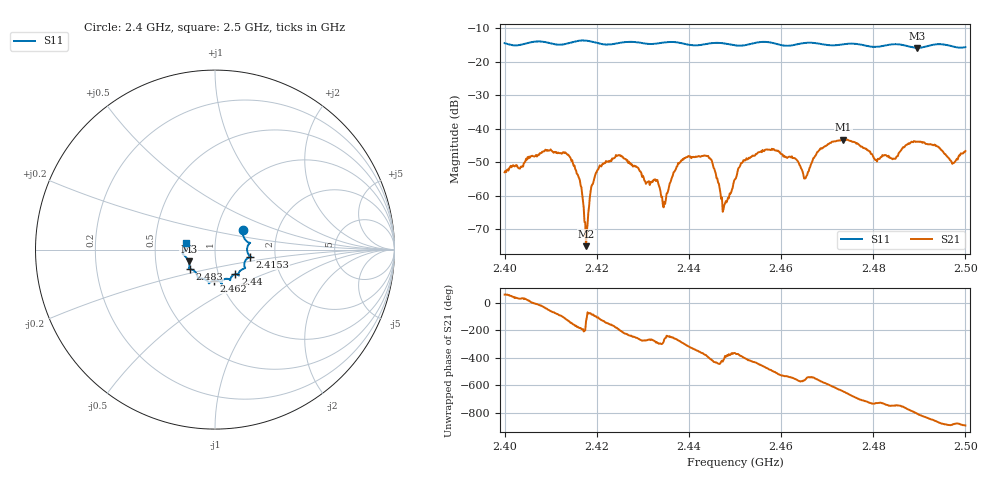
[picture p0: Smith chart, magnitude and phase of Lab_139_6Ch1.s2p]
# Hz S RI R 50
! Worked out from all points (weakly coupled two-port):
!   601 points, 2.4 GHz to 2.5 GHz, reference 50 ohm
!   highest |S21| = -43.24 dB at 2.4735 GHz (marker M1); lowest = -75.0 dB at 2.4177 GHz (marker M2)
!   lowest |S11| = -15.9 dB at 2.4895 GHz (marker M3), VSWR 1.38, Z = 37 - j5 ohm
!   |S11| at or under -10 dB: start of sweep to end of sweep
!   S12 and S22 are empty: the file has one direction only
!   S11 on the Smith chart (normalised r, x): 2.4 GHz: 1.33, +0.29; 2.4153 GHz: 1.48, -0.12; 2.44 GHz: 1.20, -0.34; 2.462 GHz: 0.93, -0.33; 2.483 GHz: 0.74, -0.17; 2.5 GHz: 0.72, +0.06
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2.4e9  0.1553 0.1066  0.00116 0.00191  0 0  0 0
2.4095e9  0.1885 0.0305  0.00288 -0.00372  0 0  0 0
2.415333e9  0.1963 -0.0385  -0.00243 -0.000497  0 0  0 0
2.416667e9  0.2019 -0.0425  -0.00131 0.000276  0 0  0 0
2.417667e9  0.2007 -0.0423  -0.000128 -0.000123  0 0  0 0
2.420167e9  0.1832 -0.0468  -0.000753 -0.00232  0 0  0 0
2.424333e9  0.1633 -0.0901  -0.00393 0.000146  0 0  0 0
2.433333e9  0.1312 -0.1335  0.000619 0.0014  0 0  0 0
2.434833e9  0.1307 -0.1427  -0.000163 0.000737  0 0  0 0
2.44e9  0.114 -0.1369  0.00294 0.00257  0 0  0 0
2.4445e9  0.0849 -0.1662  0.00262 -0.00253  0 0  0 0
2.447667e9  0.0823 -0.1673  0.000497 -0.000527  0 0  0 0
2.45e9  0.0645 -0.1625  0.00175 -0.000164  0 0  0 0
2.4555e9  0.0372 -0.1919  -4.49e-06 -0.00453  0 0  0 0
2.462e9  -0.00528 -0.1731  -0.00382 -1.43e-05  0 0  0 0
2.465167e9  -0.0323 -0.1867  -0.00168 0.000664  0 0  0 0
2.466667e9  -0.0342 -0.1877  -0.00312 -2.12e-05  0 0  0 0
2.4735e9  -0.084 -0.1604  0.00177 0.00666  0 0  0 0
2.483e9  -0.1376 -0.1096  0.00358 -0.00146  0 0  0 0
2.483333e9  -0.1402 -0.1093  0.0035 -0.00181  0 0  0 0
2.4895e9  -0.1462 -0.066  0.000501 -0.00635  0 0  0 0
2.5e9  -0.1595 0.0391  -0.00459 -0.000711  0 0  0 0
